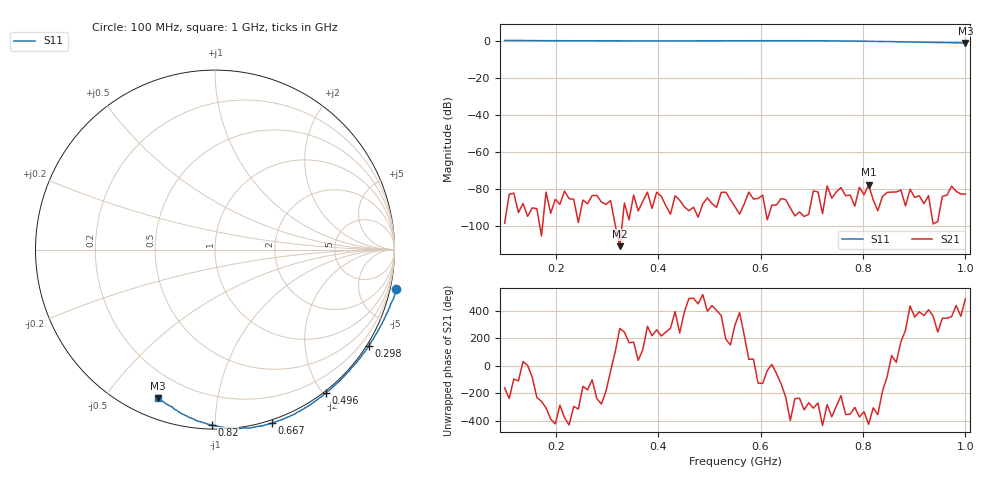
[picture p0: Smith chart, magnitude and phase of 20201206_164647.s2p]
# HZ S RI R 50
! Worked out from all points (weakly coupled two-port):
!   101 points, 100 MHz to 1 GHz, reference 50 ohm
!   highest |S21| = -77.90 dB at 811 MHz (marker M1); lowest = -111.1 dB at 325 MHz (marker M2)
!   lowest |S11| = -1.1 dB at 1 GHz (marker M3), VSWR 16.55, Z = 4.44 - j34.2 ohm
!   |S11| at or under -10 dB: nowhere
!   S12 and S22 are empty: the file has one direction only
!   S11 on the Smith chart (normalised r, x): 100 MHz: -1.30, -9.13; 298 MHz: -0.07, -3.49; 496 MHz: -0.03, -2.04; 667 MHz: -0.03, -1.38; 820 MHz: 0.02, -0.98; 1 GHz: 0.09, -0.68
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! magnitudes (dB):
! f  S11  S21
! 100 MHz  0.3  -98.8
! 253 MHz  0.1  -86.1
! 298 MHz  0.1  -88.5
! 325 MHz  0.1  -111.1
! 406 MHz  0.1  -84.1
! 496 MHz  0.1  -85.0
! 550 MHz  0.1  -89.8
! 667 MHz  0.2  -94.7
! 703 MHz  0.1  -81.3
! 721 MHz  0.1  -93.5
! 730 MHz  0.1  -78.4
! 739 MHz  0.1  -85.1
! 784 MHz  0.0  -89.5
! 793 MHz  -0.1  -79.2
! 802 MHz  -0.1  -83.3
! 811 MHz  -0.2  -77.9
! 820 MHz  -0.2  -86.2
! 856 MHz  -0.3  -81.8
! 964 MHz  -0.9  -83.5
! 973 MHz  -0.9  -78.6
! 982 MHz  -1.0  -81.4
! 1 GHz  -1.1  -82.9
